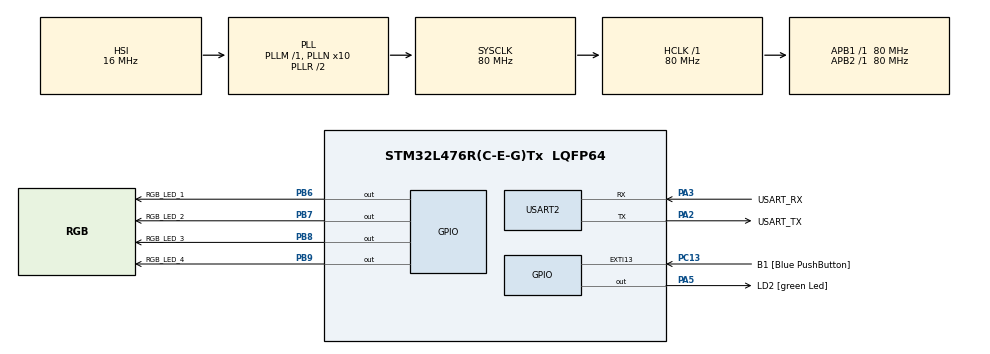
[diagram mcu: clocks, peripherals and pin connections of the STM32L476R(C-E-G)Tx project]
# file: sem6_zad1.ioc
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Mcu.Family=STM32L4
Mcu.Name=STM32L476R(C-E-G)Tx
Mcu.Package=LQFP64
NVIC.PriorityGroup=NVIC_PRIORITYGROUP_4
NVIC.TIM2_IRQn=true\:0\:0\:false\:false\:true\:true\:true\:true
PA13\ (JTMS-SWDIO).GPIO_Label=TMS
PA13\ (JTMS-SWDIO).Mode=Serial_Wire
PA13\ (JTMS-SWDIO).Signal=SYS_JTMS-SWDIO
PA14\ (JTCK-SWCLK).GPIO_Label=TCK
PA14\ (JTCK-SWCLK).Mode=Serial_Wire
PA14\ (JTCK-SWCLK).Signal=SYS_JTCK-SWCLK
PA2.GPIO_Label=USART_TX
PA2.GPIO_Mode=GPIO_MODE_AF_PP
PA2.GPIO_PuPd=GPIO_NOPULL
PA2.GPIO_Speed=GPIO_SPEED_FREQ_VERY_HIGH
PA2.Mode=Asynchronous
PA2.Signal=USART2_TX
PA3.GPIO_Label=USART_RX
PA3.GPIO_Mode=GPIO_MODE_AF_PP
PA3.GPIO_PuPd=GPIO_NOPULL
PA3.GPIO_Speed=GPIO_SPEED_FREQ_VERY_HIGH
PA3.Mode=Asynchronous
PA3.Signal=USART2_RX
PA5.GPIO_Label=LD2 [green Led]
PA5.GPIO_ModeDefaultOutputPP=GPIO_MODE_OUTPUT_PP
PA5.GPIO_PuPd=GPIO_NOPULL
PA5.GPIO_Speed=GPIO_SPEED_FREQ_LOW
PA5.Signal=GPIO_Output
PB3\ (JTDO-TRACESWO).GPIO_Label=SWO
PB3\ (JTDO-TRACESWO).Signal=SYS_JTDO-SWO
PB6.GPIO_Label=RGB_LED_1
PB6.Signal=GPIO_Output
PB7.GPIO_Label=RGB_LED_2
PB7.Signal=GPIO_Output
PB8.GPIO_Label=RGB_LED_3
PB8.Signal=GPIO_Output
PB9.GPIO_Label=RGB_LED_4
PB9.Signal=GPIO_Output
PC13.GPIO_Label=B1 [Blue PushButton]
PC13.GPIO_ModeDefaultEXTI=GPIO_MODE_IT_FALLING
PC13.GPIO_PuPd=GPIO_NOPULL
PC13.Signal=GPXTI13
PC14-OSC32_IN\ (PC14).Mode=LSE-External-Oscillator
PC14-OSC32_IN\ (PC14).Signal=RCC_OSC32_IN
PC15-OSC32_OUT\ (PC15).Mode=LSE-External-Oscillator
PC15-OSC32_OUT\ (PC15).Signal=RCC_OSC32_OUT
PH0-OSC_IN\ (PH0).Signal=RCC_OSC_IN
PH1-OSC_OUT\ (PH1).Signal=RCC_OSC_OUT
ProjectManager.HeapSize=0x200
ProjectManager.StackSize=0x400
ProjectManager.TargetToolchain=STM32CubeIDE
RCC.ADCFreq_Value=64000000
RCC.AHBFreq_Value=80000000
RCC.APB1Freq_Value=80000000
RCC.APB1TimFreq_Value=80000000
RCC.APB2Freq_Value=80000000
RCC.APB2TimFreq_Value=80000000
RCC.CortexFreq_Value=80000000
RCC.HCLKFreq_Value=80000000
RCC.HSE_VALUE=8000000
RCC.HSI_VALUE=16000000
RCC.MSI_VALUE=4000000
RCC.PLLN=10
RCC.PLLSourceVirtual=RCC_PLLSOURCE_HSI
RCC.PREFETCH_ENABLE=1
RCC.SYSCLKFreq_VALUE=80000000
RCC.SYSCLKSource=RCC_SYSCLKSOURCE_PLLCLK
RCC.USBFreq_Value=64000000
RCC.VCOOutputFreq_Value=160000000
TIM2.Period=4999
TIM2.Prescaler=7999
USART2.VirtualMode-Asynchronous=VM_ASYNC
VP_TIM2_VS_ClockSourceINT.Mode=Internal
board=NUCLEO-L476RG

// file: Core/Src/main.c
/* USER CODE BEGIN Header */
/**
  ******************************************************************************
  * @file           : main.c
  * @brief          : Main program body
  ******************************************************************************
  * @attention
  *
  * Copyright (c) 2026 STMicroelectronics.
  * All rights reserved.
  *
  * This software is licensed under terms that can be found in the LICENSE file
  * in the root directory of this software component.
  * If no LICENSE file comes with this software, it is provided AS-IS.
  *
  ******************************************************************************
  */
/* USER CODE END Header */
#include "main.h"

TIM_HandleTypeDef htim2;

UART_HandleTypeDef huart2;

/* USER CODE BEGIN PV */
int zad = 0;
/* USER CODE END PV */

void SystemClock_Config(void);
static void MX_GPIO_Init(void);
static void MX_USART2_UART_Init(void);
static void MX_TIM2_Init(void);

/* USER CODE BEGIN 0 */

	void HAL_TIM_PeriodElapsedCallback(TIM_HandleTypeDef *htim)
	{
		static int step = 0;

		if (htim->Instance == TIM2)
		{
			if (step == 0)
			{
				HAL_GPIO_WritePin(GPIOB, RGB_LED_4_Pin, GPIO_PIN_RESET);
				HAL_GPIO_WritePin(GPIOB, RGB_LED_1_Pin|RGB_LED_2_Pin|RGB_LED_3_Pin, GPIO_PIN_SET);
				step = 1;

			}
			else if (step == 1)
			{
				HAL_GPIO_WritePin(GPIOB, RGB_LED_1_Pin|RGB_LED_2_Pin|RGB_LED_3_Pin|RGB_LED_4_Pin, GPIO_PIN_RESET);

				step = 2;
			}
			else if (step == 2)
			{
				HAL_GPIO_WritePin(GPIOB, RGB_LED_1_Pin, GPIO_PIN_RESET);
				HAL_GPIO_WritePin(GPIOB, RGB_LED_4_Pin|RGB_LED_2_Pin|RGB_LED_3_Pin, GPIO_PIN_SET);

				step = 3;
			}
			else if (step == 3)
			{
				HAL_GPIO_WritePin(GPIOB, RGB_LED_1_Pin|RGB_LED_2_Pin|RGB_LED_3_Pin|RGB_LED_4_Pin, GPIO_PIN_RESET);

				step = 4;
			}
			else if (step == 4)
			{
				HAL_GPIO_WritePin(GPIOB, RGB_LED_2_Pin, GPIO_PIN_RESET);
				HAL_GPIO_WritePin(GPIOB, RGB_LED_1_Pin|RGB_LED_4_Pin|RGB_LED_3_Pin, GPIO_PIN_SET);

				step = 5;
			}
			else if (step == 5)
			{
				HAL_GPIO_WritePin(GPIOB, RGB_LED_1_Pin|RGB_LED_2_Pin|RGB_LED_3_Pin|RGB_LED_4_Pin, GPIO_PIN_RESET);

				step = 6;
			}
			else if (step == 6)
			{
				HAL_GPIO_WritePin(GPIOB, RGB_LED_3_Pin, GPIO_PIN_RESET);
				HAL_GPIO_WritePin(GPIOB, RGB_LED_1_Pin|RGB_LED_2_Pin|RGB_LED_4_Pin, GPIO_PIN_SET);

				step = 7;
			}
			else if (step == 7)
			{
				HAL_GPIO_WritePin(GPIOB, RGB_LED_1_Pin|RGB_LED_2_Pin|RGB_LED_3_Pin|RGB_LED_4_Pin, GPIO_PIN_RESET);

				step = 0;
			}

		}
	}

/* USER CODE END 0 */

int main(void)
{

  /* MCU Configuration--------------------------------------------------------*/

  /* Reset of all peripherals, Initializes the Flash interface and the Systick. */
  HAL_Init();

  /* Configure the system clock */
  SystemClock_Config();

  /* Initialize all configured peripherals */
  MX_GPIO_Init();
  MX_USART2_UART_Init();
  MX_TIM2_Init();
  /* USER CODE BEGIN 2 */

  HAL_TIM_Base_Start_IT(&htim2);
  /* USER CODE END 2 */

  /* Infinite loop */
  while (1)
  {

  }
}

void SystemClock_Config(void)
{
  RCC_OscInitTypeDef RCC_OscInitStruct = {0};
  RCC_ClkInitTypeDef RCC_ClkInitStruct = {0};

  /** Configure the main internal regulator output voltage
  */
  if (HAL_PWREx_ControlVoltageScaling(PWR_REGULATOR_VOLTAGE_SCALE1) != HAL_OK)
  {
    Error_Handler();
  }

  /** Initializes the RCC Oscillators according to the specified parameters
  * in the RCC_OscInitTypeDef structure.
  */
  RCC_OscInitStruct.OscillatorType = RCC_OSCILLATORTYPE_HSI;
  RCC_OscInitStruct.HSIState = RCC_HSI_ON;
  RCC_OscInitStruct.HSICalibrationValue = RCC_HSICALIBRATION_DEFAULT;
  RCC_OscInitStruct.PLL.PLLState = RCC_PLL_ON;
  RCC_OscInitStruct.PLL.PLLSource = RCC_PLLSOURCE_HSI;
  RCC_OscInitStruct.PLL.PLLM = 1;
  RCC_OscInitStruct.PLL.PLLN = 10;
  RCC_OscInitStruct.PLL.PLLP = RCC_PLLP_DIV7;
  RCC_OscInitStruct.PLL.PLLQ = RCC_PLLQ_DIV2;
  RCC_OscInitStruct.PLL.PLLR = RCC_PLLR_DIV2;
  if (HAL_RCC_OscConfig(&RCC_OscInitStruct) != HAL_OK)
  {
    Error_Handler();
  }

  /** Initializes the CPU, AHB and APB buses clocks
  */
  RCC_ClkInitStruct.ClockType = RCC_CLOCKTYPE_HCLK|RCC_CLOCKTYPE_SYSCLK
                              |RCC_CLOCKTYPE_PCLK1|RCC_CLOCKTYPE_PCLK2;
  RCC_ClkInitStruct.SYSCLKSource = RCC_SYSCLKSOURCE_PLLCLK;
  RCC_ClkInitStruct.AHBCLKDivider = RCC_SYSCLK_DIV1;
  RCC_ClkInitStruct.APB1CLKDivider = RCC_HCLK_DIV1;
  RCC_ClkInitStruct.APB2CLKDivider = RCC_HCLK_DIV1;

  if (HAL_RCC_ClockConfig(&RCC_ClkInitStruct, FLASH_LATENCY_4) != HAL_OK)
  {
    Error_Handler();
  }
}

static void MX_TIM2_Init(void)
{

  TIM_ClockConfigTypeDef sClockSourceConfig = {0};
  TIM_MasterConfigTypeDef sMasterConfig = {0};

  htim2.Instance = TIM2;
  htim2.Init.Prescaler = 7999;
  htim2.Init.CounterMode = TIM_COUNTERMODE_UP;
  htim2.Init.Period = 4999;
  htim2.Init.ClockDivision = TIM_CLOCKDIVISION_DIV1;
  htim2.Init.AutoReloadPreload = TIM_AUTORELOAD_PRELOAD_DISABLE;
  if (HAL_TIM_Base_Init(&htim2) != HAL_OK)
  {
    Error_Handler();
  }
  sClockSourceConfig.ClockSource = TIM_CLOCKSOURCE_INTERNAL;
  if (HAL_TIM_ConfigClockSource(&htim2, &sClockSourceConfig) != HAL_OK)
  {
    Error_Handler();
  }
  sMasterConfig.MasterOutputTrigger = TIM_TRGO_RESET;
  sMasterConfig.MasterSlaveMode = TIM_MASTERSLAVEMODE_DISABLE;
  if (HAL_TIMEx_MasterConfigSynchronization(&htim2, &sMasterConfig) != HAL_OK)
  {
    Error_Handler();
  }

}

static void MX_USART2_UART_Init(void)
{

  huart2.Instance = USART2;
  huart2.Init.BaudRate = 115200;
  huart2.Init.WordLength = UART_WORDLENGTH_8B;
  huart2.Init.StopBits = UART_STOPBITS_1;
  huart2.Init.Parity = UART_PARITY_NONE;
  huart2.Init.Mode = UART_MODE_TX_RX;
  huart2.Init.HwFlowCtl = UART_HWCONTROL_NONE;
  huart2.Init.OverSampling = UART_OVERSAMPLING_16;
  huart2.Init.OneBitSampling = UART_ONE_BIT_SAMPLE_DISABLE;
  huart2.AdvancedInit.AdvFeatureInit = UART_ADVFEATURE_NO_INIT;
  if (HAL_UART_Init(&huart2) != HAL_OK)
  {
    Error_Handler();
  }

}

static void MX_GPIO_Init(void)
{
  GPIO_InitTypeDef GPIO_InitStruct = {0};

  /* GPIO Ports Clock Enable */
  __HAL_RCC_GPIOC_CLK_ENABLE();
  __HAL_RCC_GPIOH_CLK_ENABLE();
  __HAL_RCC_GPIOA_CLK_ENABLE();
  __HAL_RCC_GPIOB_CLK_ENABLE();

  /*Configure GPIO pin Output Level */
  HAL_GPIO_WritePin(LD2_GPIO_Port, LD2_Pin, GPIO_PIN_RESET);

  /*Configure GPIO pin Output Level */
  HAL_GPIO_WritePin(GPIOB, RGB_LED_1_Pin|RGB_LED_2_Pin|RGB_LED_3_Pin|RGB_LED_4_Pin, GPIO_PIN_RESET);

  /*Configure GPIO pin : B1_Pin */
  GPIO_InitStruct.Pin = B1_Pin;
  GPIO_InitStruct.Mode = GPIO_MODE_IT_FALLING;
  GPIO_InitStruct.Pull = GPIO_NOPULL;
  HAL_GPIO_Init(B1_GPIO_Port, &GPIO_InitStruct);

  /*Configure GPIO pin : LD2_Pin */
  GPIO_InitStruct.Pin = LD2_Pin;
  GPIO_InitStruct.Mode = GPIO_MODE_OUTPUT_PP;
  GPIO_InitStruct.Pull = GPIO_NOPULL;
  GPIO_InitStruct.Speed = GPIO_SPEED_FREQ_LOW;
  HAL_GPIO_Init(LD2_GPIO_Port, &GPIO_InitStruct);

  /*Configure GPIO pins : RGB_LED_1_Pin RGB_LED_2_Pin RGB_LED_3_Pin RGB_LED_4_Pin */
  GPIO_InitStruct.Pin = RGB_LED_1_Pin|RGB_LED_2_Pin|RGB_LED_3_Pin|RGB_LED_4_Pin;
  GPIO_InitStruct.Mode = GPIO_MODE_OUTPUT_PP;
  GPIO_InitStruct.Pull = GPIO_NOPULL;
  GPIO_InitStruct.Speed = GPIO_SPEED_FREQ_LOW;
  HAL_GPIO_Init(GPIOB, &GPIO_InitStruct);

}

void Error_Handler(void)
{
  __disable_irq();
  while (1)
  {
  }
}
